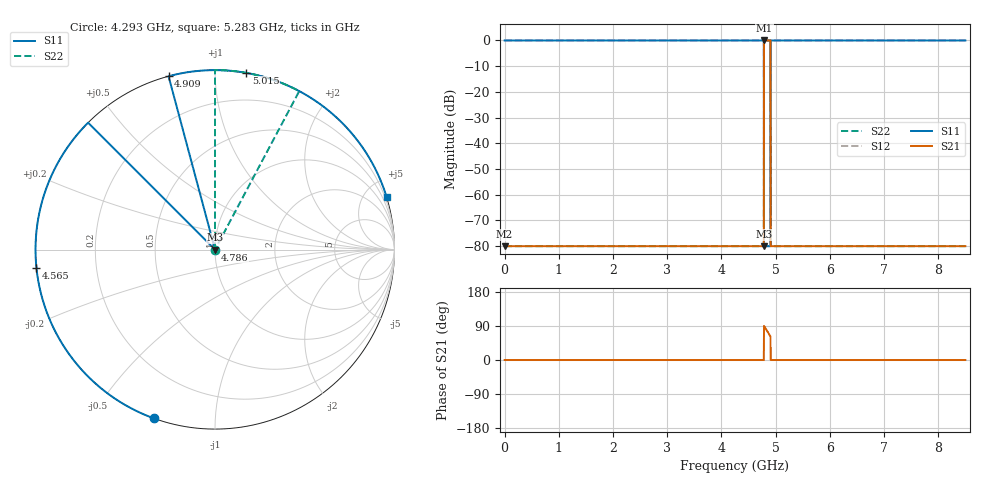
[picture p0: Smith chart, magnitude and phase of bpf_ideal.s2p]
# MHz S MA R 50
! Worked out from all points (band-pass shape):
!   2001 points, 300 kHz to 8.5 GHz, reference 50 ohm
!   highest |S21| = 0.00 dB at 4.794 GHz (marker M1); lowest = -80.0 dB at 300 kHz (marker M2)
!   |S21| within 3 dB of the highest: 4.785 GHz to 4.905 GHz (119.3 MHz wide, 2.46 % of centre)
!   lowest |S11| = -80.0 dB at 4.786 GHz (marker M3), VSWR 1.00, Z = 50 + j0 ohm
!   |S11| at or under -10 dB: 4.782 GHz to 4.908 GHz (126.4 MHz wide, 2.61 % of centre)
!   |S22| runs from -80.0 to 0.0 dB; largest |S21 - S12| = 1
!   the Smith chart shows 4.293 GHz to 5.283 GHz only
!   S11 on the Smith chart (normalised r, x): 4.293 GHz: 0.00, -0.70; 4.565 GHz: 0.00, -0.05; 4.786 GHz: 1.00, +0.00; 4.909 GHz: -0.00, +0.77; 5.015 GHz: 0.00, +1.19; 5.283 GHz: 0.00, +6.69
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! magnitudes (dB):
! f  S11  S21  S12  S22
! 300 kHz  0.0  -80.0  0.0  -80.0
! 1.42 GHz  0.0  -80.0  0.0  -80.0
! 2.835 GHz  0.0  -80.0  0.0  -80.0
! 4.254 GHz  0.0  -80.0  0.0  -80.0
! 4.293 GHz  0.0  -80.0  0.0  -80.0
! 4.565 GHz  0.0  -80.0  0.0  -80.0
! 4.739 GHz  0.0  -80.0  0.0  -80.0
! 4.752 GHz  0.0  -80.0  0.0  -80.0
! 4.786 GHz  -80.0  0.0  -80.0  0.0
! 4.794 GHz  -80.0  0.0  -80.0  0.0
! 4.803 GHz  -80.0  0.0  -80.0  0.0
! 4.811 GHz  -80.0  0.0  -80.0  0.0
! 4.828 GHz  -80.0  0.0  -80.0  0.0
! 4.862 GHz  -80.0  0.0  -80.0  0.0
! 4.875 GHz  -80.0  0.0  -80.0  0.0
! 4.909 GHz  0.0  -80.0  0.0  -80.0
! 4.951 GHz  0.0  -80.0  0.0  -80.0
! 5.015 GHz  0.0  -80.0  0.0  -80.0
! 5.283 GHz  0.0  -80.0  0.0  -80.0
! 5.67 GHz  0.0  -80.0  0.0  -80.0
! 7.085 GHz  0.0  -80.0  0.0  -80.0
! 8.5 GHz  0.0  -80.0  0.0  -80.0
